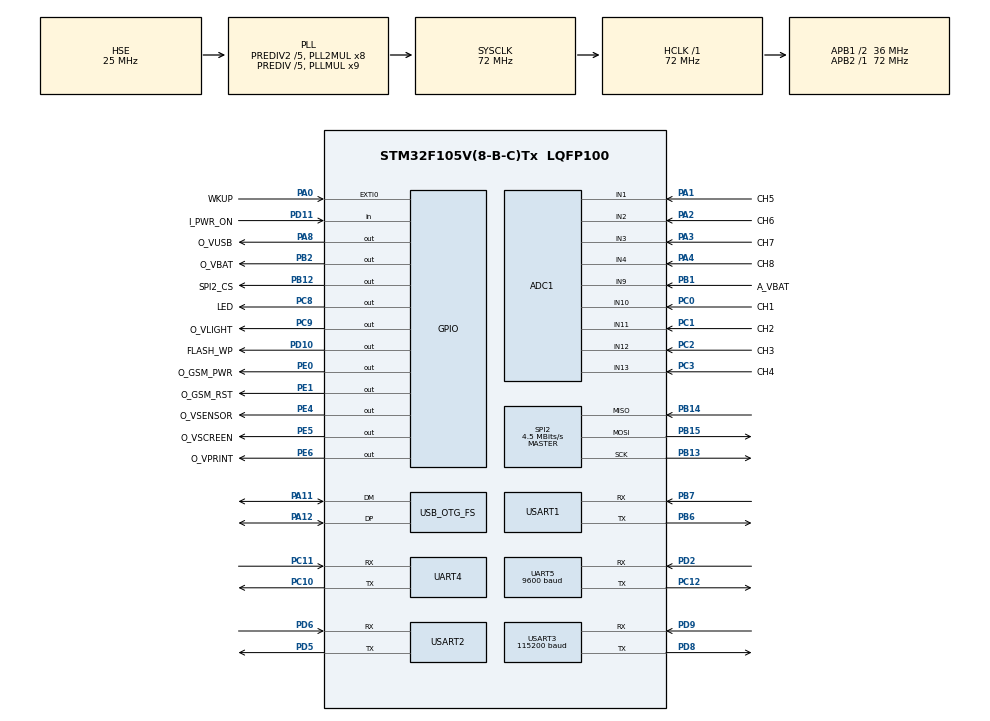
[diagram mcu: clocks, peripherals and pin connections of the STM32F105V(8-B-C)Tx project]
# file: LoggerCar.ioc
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ADC1.Channel-0\#ChannelRegularConversion=ADC_CHANNEL_9
ADC1.Channel-1\#ChannelRegularConversion=ADC_CHANNEL_10
ADC1.Channel-2\#ChannelRegularConversion=ADC_CHANNEL_11
ADC1.Channel-3\#ChannelRegularConversion=ADC_CHANNEL_12
ADC1.Channel-4\#ChannelRegularConversion=ADC_CHANNEL_13
ADC1.Channel-5\#ChannelRegularConversion=ADC_CHANNEL_1
ADC1.Channel-6\#ChannelRegularConversion=ADC_CHANNEL_2
ADC1.Channel-7\#ChannelRegularConversion=ADC_CHANNEL_3
ADC1.Channel-8\#ChannelRegularConversion=ADC_CHANNEL_4
ADC1.ContinuousConvMode=ENABLE
ADC1.DataAlign=ADC_DATAALIGN_RIGHT
ADC1.DiscontinuousConvMode=DISABLE
ADC1.EnableAnalogWatchDog=false
ADC1.EnableRegularConversion=ENABLE
ADC1.ExternalTrigConv=ADC_SOFTWARE_START
ADC1.InjNumberOfConversion=0
ADC1.NbrOfConversion=9
ADC1.NbrOfConversionFlag=1
ADC1.Rank-0\#ChannelRegularConversion=1
ADC1.Rank-1\#ChannelRegularConversion=2
ADC1.Rank-2\#ChannelRegularConversion=3
ADC1.Rank-3\#ChannelRegularConversion=4
ADC1.Rank-4\#ChannelRegularConversion=5
ADC1.Rank-5\#ChannelRegularConversion=6
ADC1.Rank-6\#ChannelRegularConversion=7
ADC1.Rank-7\#ChannelRegularConversion=8
ADC1.Rank-8\#ChannelRegularConversion=9
ADC1.SamplingTime-0\#ChannelRegularConversion=ADC_SAMPLETIME_239CYCLES_5
ADC1.SamplingTime-1\#ChannelRegularConversion=ADC_SAMPLETIME_239CYCLES_5
ADC1.SamplingTime-2\#ChannelRegularConversion=ADC_SAMPLETIME_239CYCLES_5
ADC1.SamplingTime-3\#ChannelRegularConversion=ADC_SAMPLETIME_239CYCLES_5
ADC1.SamplingTime-4\#ChannelRegularConversion=ADC_SAMPLETIME_239CYCLES_5
ADC1.SamplingTime-5\#ChannelRegularConversion=ADC_SAMPLETIME_239CYCLES_5
ADC1.SamplingTime-6\#ChannelRegularConversion=ADC_SAMPLETIME_239CYCLES_5
ADC1.SamplingTime-7\#ChannelRegularConversion=ADC_SAMPLETIME_239CYCLES_5
ADC1.SamplingTime-8\#ChannelRegularConversion=ADC_SAMPLETIME_239CYCLES_5
ADC1.ScanConvMode=ADC_SCAN_ENABLE
ADC1.master=1
Dma.ADC1.8.Direction=DMA_PERIPH_TO_MEMORY
Dma.ADC1.8.Instance=DMA1_Channel1
Dma.ADC1.8.MemDataAlignment=DMA_MDATAALIGN_HALFWORD
Dma.ADC1.8.MemInc=DMA_MINC_ENABLE
Dma.ADC1.8.Mode=DMA_NORMAL
Dma.ADC1.8.PeriphDataAlignment=DMA_PDATAALIGN_HALFWORD
Dma.ADC1.8.PeriphInc=DMA_PINC_DISABLE
Dma.ADC1.8.Priority=DMA_PRIORITY_LOW
Dma.Request0=USART3_RX
Dma.Request1=USART3_TX
Dma.Request2=UART4_RX
Dma.Request3=UART4_TX
Dma.Request4=USART1_RX
Dma.Request5=USART1_TX
Dma.Request6=USART2_RX
Dma.Request7=USART2_TX
Dma.Request8=ADC1
Dma.UART4_RX.2.Direction=DMA_PERIPH_TO_MEMORY
Dma.UART4_RX.2.Instance=DMA2_Channel3
Dma.UART4_RX.2.MemDataAlignment=DMA_MDATAALIGN_BYTE
Dma.UART4_RX.2.MemInc=DMA_MINC_ENABLE
Dma.UART4_RX.2.Mode=DMA_NORMAL
Dma.UART4_RX.2.PeriphDataAlignment=DMA_PDATAALIGN_BYTE
Dma.UART4_RX.2.PeriphInc=DMA_PINC_DISABLE
Dma.UART4_RX.2.Priority=DMA_PRIORITY_LOW
Dma.UART4_TX.3.Direction=DMA_MEMORY_TO_PERIPH
Dma.UART4_TX.3.Instance=DMA2_Channel5
Dma.UART4_TX.3.MemDataAlignment=DMA_MDATAALIGN_BYTE
Dma.UART4_TX.3.MemInc=DMA_MINC_ENABLE
Dma.UART4_TX.3.Mode=DMA_NORMAL
Dma.UART4_TX.3.PeriphDataAlignment=DMA_PDATAALIGN_BYTE
Dma.UART4_TX.3.PeriphInc=DMA_PINC_DISABLE
Dma.UART4_TX.3.Priority=DMA_PRIORITY_LOW
Dma.USART1_RX.4.Direction=DMA_PERIPH_TO_MEMORY
Dma.USART1_RX.4.Instance=DMA1_Channel5
Dma.USART1_RX.4.MemDataAlignment=DMA_MDATAALIGN_BYTE
Dma.USART1_RX.4.MemInc=DMA_MINC_ENABLE
Dma.USART1_RX.4.Mode=DMA_NORMAL
Dma.USART1_RX.4.PeriphDataAlignment=DMA_PDATAALIGN_BYTE
Dma.USART1_RX.4.PeriphInc=DMA_PINC_DISABLE
Dma.USART1_RX.4.Priority=DMA_PRIORITY_LOW
Dma.USART1_TX.5.Direction=DMA_MEMORY_TO_PERIPH
Dma.USART1_TX.5.Instance=DMA1_Channel4
Dma.USART1_TX.5.MemDataAlignment=DMA_MDATAALIGN_BYTE
Dma.USART1_TX.5.MemInc=DMA_MINC_ENABLE
Dma.USART1_TX.5.Mode=DMA_NORMAL
Dma.USART1_TX.5.PeriphDataAlignment=DMA_PDATAALIGN_BYTE
Dma.USART1_TX.5.PeriphInc=DMA_PINC_DISABLE
Dma.USART1_TX.5.Priority=DMA_PRIORITY_LOW
Dma.USART2_RX.6.Direction=DMA_PERIPH_TO_MEMORY
Dma.USART2_RX.6.Instance=DMA1_Channel6
Dma.USART2_RX.6.MemDataAlignment=DMA_MDATAALIGN_BYTE
Dma.USART2_RX.6.MemInc=DMA_MINC_ENABLE
Dma.USART2_RX.6.Mode=DMA_NORMAL
Dma.USART2_RX.6.PeriphDataAlignment=DMA_PDATAALIGN_BYTE
Dma.USART2_RX.6.PeriphInc=DMA_PINC_DISABLE
Dma.USART2_RX.6.Priority=DMA_PRIORITY_LOW
Dma.USART2_TX.7.Direction=DMA_MEMORY_TO_PERIPH
Dma.USART2_TX.7.Instance=DMA1_Channel7
Dma.USART2_TX.7.MemDataAlignment=DMA_MDATAALIGN_BYTE
Dma.USART2_TX.7.MemInc=DMA_MINC_ENABLE
Dma.USART2_TX.7.Mode=DMA_NORMAL
Dma.USART2_TX.7.PeriphDataAlignment=DMA_PDATAALIGN_BYTE
Dma.USART2_TX.7.PeriphInc=DMA_PINC_DISABLE
Dma.USART2_TX.7.Priority=DMA_PRIORITY_LOW
Dma.USART3_RX.0.Direction=DMA_PERIPH_TO_MEMORY
Dma.USART3_RX.0.Instance=DMA1_Channel3
Dma.USART3_RX.0.MemDataAlignment=DMA_MDATAALIGN_BYTE
Dma.USART3_RX.0.MemInc=DMA_MINC_ENABLE
Dma.USART3_RX.0.Mode=DMA_NORMAL
Dma.USART3_RX.0.PeriphDataAlignment=DMA_PDATAALIGN_BYTE
Dma.USART3_RX.0.PeriphInc=DMA_PINC_DISABLE
Dma.USART3_RX.0.Priority=DMA_PRIORITY_LOW
Dma.USART3_TX.1.Direction=DMA_MEMORY_TO_PERIPH
Dma.USART3_TX.1.Instance=DMA1_Channel2
Dma.USART3_TX.1.MemDataAlignment=DMA_MDATAALIGN_BYTE
Dma.USART3_TX.1.MemInc=DMA_MINC_ENABLE
Dma.USART3_TX.1.Mode=DMA_NORMAL
Dma.USART3_TX.1.PeriphDataAlignment=DMA_PDATAALIGN_BYTE
Dma.USART3_TX.1.PeriphInc=DMA_PINC_DISABLE
Dma.USART3_TX.1.Priority=DMA_PRIORITY_LOW
FATFS._FS_NORTC=1
FATFS._MAX_SS=4096
FATFS._MIN_SS=4096
FATFS._VOLUMES=1
FREERTOS.INCLUDE_eTaskGetState=0
FREERTOS.Tasks01=defaultTask,0,128,StartDefaultTask,Default,NULL
FREERTOS.configTOTAL_HEAP_SIZE=6400
IWDG.Prescaler=IWDG_PRESCALER_64
IWDG.Reload=2500
Mcu.Family=STM32F1
Mcu.Name=STM32F105V(8-B-C)Tx
Mcu.Package=LQFP100
NVIC.DMA1_Channel1_IRQn=true\:5\:0\:false\:false\:true\:true\:true
NVIC.DMA1_Channel2_IRQn=true\:5\:0\:false\:false\:true\:true\:false
NVIC.DMA1_Channel3_IRQn=true\:5\:0\:false\:false\:true\:true\:false
NVIC.DMA1_Channel4_IRQn=true\:5\:0\:false\:false\:true\:true\:false
NVIC.DMA1_Channel5_IRQn=true\:5\:0\:false\:false\:true\:true\:false
NVIC.DMA1_Channel6_IRQn=true\:5\:0\:false\:false\:true\:true\:false
NVIC.DMA1_Channel7_IRQn=true\:5\:0\:false\:false\:true\:true\:false
NVIC.DMA2_Channel3_IRQn=true\:5\:0\:false\:false\:true\:true\:false
NVIC.DMA2_Channel5_IRQn=true\:5\:0\:false\:false\:true\:true\:false
NVIC.EXTI0_IRQn=true\:5\:0\:false\:false\:true\:true\:true
NVIC.OTG_FS_IRQn=true\:5\:0\:false\:false\:true\:true\:true
NVIC.PriorityGroup=NVIC_PRIORITYGROUP_4
NVIC.RTC_Alarm_IRQn=true\:5\:0\:false\:false\:true\:true\:true
NVIC.TIM6_IRQn=true\:0\:0\:false\:false\:true\:false\:true
NVIC.TIM7_IRQn=true\:5\:0\:false\:false\:true\:true\:true
NVIC.TimeBase=TIM6_IRQn
NVIC.TimeBaseIP=TIM6
NVIC.UART4_IRQn=true\:5\:0\:false\:false\:true\:true\:true
NVIC.USART1_IRQn=true\:5\:0\:false\:false\:true\:true\:true
NVIC.USART2_IRQn=true\:5\:0\:false\:false\:true\:true\:true
NVIC.USART3_IRQn=true\:5\:0\:false\:false\:true\:true\:true
OSC_IN.Mode=HSE-External-Oscillator
OSC_IN.Signal=RCC_OSC_IN
OSC_OUT.Mode=HSE-External-Oscillator
OSC_OUT.Signal=RCC_OSC_OUT
PA0-WKUP.GPIO_Label=WKUP
PA0-WKUP.Signal=GPXTI0
PA1.GPIO_Label=CH5
PA1.Signal=ADCx_IN1
PA11.Mode=Device_Only
PA11.Signal=USB_OTG_FS_DM
PA12.Mode=Device_Only
PA12.Signal=USB_OTG_FS_DP
PA13.Mode=Serial_Wire
PA13.Signal=SYS_JTMS-SWDIO
PA14.Mode=Serial_Wire
PA14.Signal=SYS_JTCK-SWCLK
PA2.GPIO_Label=CH6
PA2.Signal=ADCx_IN2
PA3.GPIO_Label=CH7
PA3.Signal=ADCx_IN3
PA4.GPIO_Label=CH8
PA4.Signal=ADCx_IN4
PA8.GPIO_Label=O_VUSB
PA8.Signal=GPIO_Output
PB1.GPIO_Label=A_VBAT
PB1.Signal=ADCx_IN9
PB12.GPIO_Label=SPI2_CS
PB12.Signal=GPIO_Output
PB13.Mode=Full_Duplex_Master
PB13.Signal=SPI2_SCK
PB14.Mode=Full_Duplex_Master
PB14.Signal=SPI2_MISO
PB15.Mode=Full_Duplex_Master
PB15.Signal=SPI2_MOSI
PB2.GPIO_Label=O_VBAT
PB2.PinState=GPIO_PIN_SET
PB2.Signal=GPIO_Output
PB6.Mode=Asynchronous
PB6.Signal=USART1_TX
PB7.Mode=Asynchronous
PB7.Signal=USART1_RX
PC0.GPIO_Label=CH1
PC0.Signal=ADCx_IN10
PC1.GPIO_Label=CH2
PC1.Signal=ADCx_IN11
PC10.Mode=Asynchronous
PC10.Signal=UART4_TX
PC11.Mode=Asynchronous
PC11.Signal=UART4_RX
PC12.Mode=Asynchronous
PC12.Signal=UART5_TX
PC14-OSC32_IN.Mode=LSE-External-Oscillator
PC14-OSC32_IN.Signal=RCC_OSC32_IN
PC15-OSC32_OUT.Mode=LSE-External-Oscillator
PC15-OSC32_OUT.Signal=RCC_OSC32_OUT
PC2.GPIO_Label=CH3
PC2.Signal=ADCx_IN12
PC3.GPIO_Label=CH4
PC3.Signal=ADCx_IN13
PC8.GPIO_Label=LED
PC8.Signal=GPIO_Output
PC9.GPIO_Label=O_VLIGHT
PC9.Signal=GPIO_Output
PD10.GPIO_Label=FLASH_WP
PD10.PinState=GPIO_PIN_SET
PD10.Signal=GPIO_Output
PD11.GPIO_Label=I_PWR_ON
PD11.Signal=GPIO_Input
PD2.Mode=Asynchronous
PD2.Signal=UART5_RX
PD5.Mode=Asynchronous
PD5.Signal=USART2_TX
PD6.Mode=Asynchronous
PD6.Signal=USART2_RX
PD8.Mode=Asynchronous
PD8.Signal=USART3_TX
PD9.Mode=Asynchronous
PD9.Signal=USART3_RX
PE0.GPIO_Label=O_GSM_PWR
PE0.Signal=GPIO_Output
PE1.GPIO_Label=O_GSM_RST
PE1.Signal=GPIO_Output
PE4.GPIO_Label=O_VSENSOR
PE4.Signal=GPIO_Output
PE5.GPIO_Label=O_VSCREEN
PE5.Signal=GPIO_Output
PE6.GPIO_Label=O_VPRINT
PE6.Signal=GPIO_Output
ProjectManager.HeapSize=0x0400
ProjectManager.StackSize=0x1000
ProjectManager.TargetToolchain=MDK-ARM V5
RCC.ADCPresc=RCC_ADCPCLK2_DIV6
RCC.AHBFreq_Value=72000000
RCC.APB1CLKDivider=RCC_HCLK_DIV2
RCC.APB1Freq_Value=36000000
RCC.APB1TimFreq_Value=72000000
RCC.APB2Freq_Value=72000000
RCC.APB2TimFreq_Value=72000000
RCC.HCLKFreq_Value=72000000
RCC.HSEDivPLL=RCC_HSE_PREDIV_DIV5
RCC.HSE_VALUE=25000000
RCC.PLLMUL=RCC_PLL_MUL9
RCC.PLLSourceVirtual=RCC_PLLSOURCE_HSE
RCC.Prediv1Source=RCC_PREDIV1_SOURCE_PLL2
RCC.Prediv2=RCC_HSE_PREDIV2_DIV5
RCC.RTCClockSelection=RCC_RTCCLKSOURCE_LSE
RCC.SYSCLKFreq_VALUE=72000000
RCC.SYSCLKSource=RCC_SYSCLKSOURCE_PLLCLK
RCC.USBFreq_Value=48000000
RTC.Format=RTC_FORMAT_BIN
SH.ADCx_IN1.0=ADC1_IN1,IN1
SH.ADCx_IN10.0=ADC1_IN10,IN10
SH.ADCx_IN11.0=ADC1_IN11,IN11
SH.ADCx_IN12.0=ADC1_IN12,IN12
SH.ADCx_IN13.0=ADC1_IN13,IN13
SH.ADCx_IN2.0=ADC1_IN2,IN2
SH.ADCx_IN3.0=ADC1_IN3,IN3
SH.ADCx_IN4.0=ADC1_IN4,IN4
SH.ADCx_IN9.0=ADC1_IN9,IN9
SPI2.BaudRatePrescaler=SPI_BAUDRATEPRESCALER_8
SPI2.CLKPhase=SPI_PHASE_2EDGE
SPI2.CLKPolarity=SPI_POLARITY_HIGH
SPI2.CalculateBaudRate=4.5 MBits/s
SPI2.Direction=SPI_DIRECTION_2LINES
SPI2.Mode=SPI_MODE_MASTER
SPI2.VirtualType=VM_MASTER
TIM7.AutoReloadPreload=TIM_AUTORELOAD_PRELOAD_ENABLE
TIM7.Period=10000
TIM7.Prescaler=7199
UART4.VirtualMode=Asynchronous
UART5.BaudRate=9600
UART5.Mode=MODE_TX
UART5.VirtualMode=Asynchronous
USART1.VirtualMode=VM_ASYNC
USART2.VirtualMode=VM_ASYNC
USART3.BaudRate=115200
USART3.Mode=MODE_TX_RX
USART3.VirtualMode=VM_ASYNC
USB_DEVICE.CLASS_NAME_FS=MSC
USB_DEVICE.MSC_MEDIA_PACKET=4096
USB_DEVICE.PRODUCT_STRING_MSC_FS=Luge_Device
USB_DEVICE.VirtualMode=Msc
USB_DEVICE.VirtualModeFS=Msc_FS
USB_OTG_FS.VirtualMode=Device_Only
VP_FATFS_VS_Generic.Mode=User_defined
VP_FREERTOS_VS_ENABLE.Mode=Enabled
VP_IWDG_VS_IWDG.Mode=IWDG_Activate
VP_RTC_No_RTC_Output.Mode=RTC_OUT_NO
VP_RTC_VS_RTC_Activate.Mode=RTC_Enabled
VP_SYS_VS_tim6.Mode=TIM6
VP_TIM7_VS_ClockSourceINT.Mode=Enable_Timer
VP_USB_DEVICE_VS_USB_DEVICE_MSC_FS.Mode=MSC_FS
board=LoggerCar

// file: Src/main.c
/**
  ******************************************************************************
  * File Name          : main.c
  * Description        : Main program body
  ******************************************************************************
  * This notice applies to any and all portions of this file
  * that are not between comment pairs USER CODE BEGIN and
  * USER CODE END. Other portions of this file, whether
  * inserted by the user or by software development tools
  * are owned by their respective copyright owners.
  *
  * Copyright (c) 2017 STMicroelectronics International N.V.
  * All rights reserved.
  *
  * Redistribution and use in source and binary forms, with or without
  * modification, are permitted, provided that the following conditions are met:
  *
  * 1. Redistribution of source code must retain the above copyright notice,
  *    this list of conditions and the following disclaimer.
  * 2. Redistributions in binary form must reproduce the above copyright notice,
  *    this list of conditions and the following disclaimer in the documentation
  *    and/or other materials provided with the distribution.
  * 3. Neither the name of STMicroelectronics nor the names of other
  *    contributors to this software may be used to endorse or promote products
  *    derived from this software without specific written permission.
  * 4. This software, including modifications and/or derivative works of this
  *    software, must execute solely and exclusively on microcontroller or
  *    microprocessor devices manufactured by or for STMicroelectronics.
  * 5. Redistribution and use of this software other than as permitted under
  *    this license is void and will automatically terminate your rights under
  *    this license.
  *
  * THIS SOFTWARE IS PROVIDED BY STMICROELECTRONICS AND CONTRIBUTORS "AS IS"
  * AND ANY EXPRESS, IMPLIED OR STATUTORY WARRANTIES, INCLUDING, BUT NOT
  * LIMITED TO, THE IMPLIED WARRANTIES OF MERCHANTABILITY, FITNESS FOR A
  * PARTICULAR PURPOSE AND NON-INFRINGEMENT OF THIRD PARTY INTELLECTUAL PROPERTY
  * RIGHTS ARE DISCLAIMED TO THE FULLEST EXTENT PERMITTED BY LAW. IN NO EVENT
  * SHALL STMICROELECTRONICS OR CONTRIBUTORS BE LIABLE FOR ANY DIRECT, INDIRECT,
  * INCIDENTAL, SPECIAL, EXEMPLARY, OR CONSEQUENTIAL DAMAGES (INCLUDING, BUT NOT
  * LIMITED TO, PROCUREMENT OF SUBSTITUTE GOODS OR SERVICES; LOSS OF USE, DATA,
  * OR PROFITS; OR BUSINESS INTERRUPTION) HOWEVER CAUSED AND ON ANY THEORY OF
  * LIABILITY, WHETHER IN CONTRACT, STRICT LIABILITY, OR TORT (INCLUDING
  * NEGLIGENCE OR OTHERWISE) ARISING IN ANY WAY OUT OF THE USE OF THIS SOFTWARE,
  * EVEN IF ADVISED OF THE POSSIBILITY OF SUCH DAMAGE.
  *
  ******************************************************************************
  */

#include "main.h"
#include "stm32f1xx_hal.h"
#include "cmsis_os.h"
#include "adc.h"
#include "dma.h"
#include "fatfs.h"
#include "iwdg.h"
#include "rtc.h"
#include "spi.h"
#include "tim.h"
#include "usart.h"
#include "usb_device.h"
#include "gpio.h"

/* USER CODE BEGIN Includes */
#include "analog.h"
#include "file.h"
#include "gprs.h"
#include "lowPwr.h"
#include "ble.h"
#include "display.h"

/* USER CODE END Includes */

/* USER CODE BEGIN PV */
/* Private variables ---------------------------------------------------------*/

/* USER CODE END PV */

void SystemClock_Config(void);
void MX_FREERTOS_Init(void);

/* USER CODE BEGIN PFP */
/* Private function prototypes -----------------------------------------------*/

/* USER CODE END PFP */

/* USER CODE BEGIN 0 */
extern osThreadId realtimeTaskHandle;
/* USER CODE END 0 */

int main(void)
{

  /* MCU Configuration----------------------------------------------------------*/

  /* Reset of all peripherals, Initializes the Flash interface and the Systick. */
  HAL_Init();

  /* Configure the system clock */
  SystemClock_Config();

  /* USER CODE BEGIN SysInit */
  /* 在外设配置前，检测是否开机 */
//  LOWPWR_Init();
  /* USER CODE END SysInit */

  /* Initialize all configured peripherals */
  MX_GPIO_Init();
  MX_DMA_Init();
  MX_RTC_Init();
  MX_ADC1_Init();
  MX_USART3_UART_Init();
  MX_UART4_Init();
  MX_UART5_Init();
  MX_USART1_UART_Init();
  MX_USART2_UART_Init();
  MX_SPI2_Init();
  MX_TIM7_Init();
//  MX_IWDG_Init();

  /* USER CODE BEGIN 2 */
  ANALOG_Init();
  BLE_Init();

  /* USER CODE END 2 */

  /* Call init function for freertos objects (in freertos.c) */
  MX_FREERTOS_Init();

  /* Start scheduler */
  osKernelStart();

  /* We should never get here as control is now taken by the scheduler */

  /* Infinite loop */
  while (1)
  {

  }

}

/** System Clock Configuration
*/
void SystemClock_Config(void)
{

  RCC_OscInitTypeDef RCC_OscInitStruct;
  RCC_ClkInitTypeDef RCC_ClkInitStruct;
  RCC_PeriphCLKInitTypeDef PeriphClkInit;

    /**Initializes the CPU, AHB and APB busses clocks
    */
  RCC_OscInitStruct.OscillatorType = RCC_OSCILLATORTYPE_LSI|RCC_OSCILLATORTYPE_HSE
                              |RCC_OSCILLATORTYPE_LSE;
  RCC_OscInitStruct.HSEState = RCC_HSE_ON;
  RCC_OscInitStruct.HSEPredivValue = RCC_HSE_PREDIV_DIV5;
  RCC_OscInitStruct.LSEState = RCC_LSE_ON;
  RCC_OscInitStruct.HSIState = RCC_HSI_ON;
  RCC_OscInitStruct.LSIState = RCC_LSI_ON;
  RCC_OscInitStruct.Prediv1Source = RCC_PREDIV1_SOURCE_PLL2;
  RCC_OscInitStruct.PLL.PLLState = RCC_PLL_ON;
  RCC_OscInitStruct.PLL.PLLSource = RCC_PLLSOURCE_HSE;
  RCC_OscInitStruct.PLL.PLLMUL = RCC_PLL_MUL9;
  RCC_OscInitStruct.PLL2.PLL2State = RCC_PLL2_ON;
  RCC_OscInitStruct.PLL2.PLL2MUL = RCC_PLL2_MUL8;
  RCC_OscInitStruct.PLL2.HSEPrediv2Value = RCC_HSE_PREDIV2_DIV5;
  if (HAL_RCC_OscConfig(&RCC_OscInitStruct) != HAL_OK)
  {
    _Error_Handler(__FILE__, __LINE__);
  }

    /**Initializes the CPU, AHB and APB busses clocks
    */
  RCC_ClkInitStruct.ClockType = RCC_CLOCKTYPE_HCLK|RCC_CLOCKTYPE_SYSCLK
                              |RCC_CLOCKTYPE_PCLK1|RCC_CLOCKTYPE_PCLK2;
  RCC_ClkInitStruct.SYSCLKSource = RCC_SYSCLKSOURCE_PLLCLK;
  RCC_ClkInitStruct.AHBCLKDivider = RCC_SYSCLK_DIV1;
  RCC_ClkInitStruct.APB1CLKDivider = RCC_HCLK_DIV2;
  RCC_ClkInitStruct.APB2CLKDivider = RCC_HCLK_DIV1;

  if (HAL_RCC_ClockConfig(&RCC_ClkInitStruct, FLASH_LATENCY_2) != HAL_OK)
  {
    _Error_Handler(__FILE__, __LINE__);
  }

  PeriphClkInit.PeriphClockSelection = RCC_PERIPHCLK_RTC|RCC_PERIPHCLK_ADC
                              |RCC_PERIPHCLK_USB;
  PeriphClkInit.RTCClockSelection = RCC_RTCCLKSOURCE_LSE;
  PeriphClkInit.AdcClockSelection = RCC_ADCPCLK2_DIV6;
  PeriphClkInit.UsbClockSelection = RCC_USBCLKSOURCE_PLL_DIV3;
  if (HAL_RCCEx_PeriphCLKConfig(&PeriphClkInit) != HAL_OK)
  {
    _Error_Handler(__FILE__, __LINE__);
  }

    /**Configure the Systick interrupt time
    */
  HAL_SYSTICK_Config(HAL_RCC_GetHCLKFreq()/1000);

    /**Configure the Systick
    */
  HAL_SYSTICK_CLKSourceConfig(SYSTICK_CLKSOURCE_HCLK);

    /**Configure the Systick interrupt time
    */
  __HAL_RCC_PLLI2S_ENABLE();

  /* SysTick_IRQn interrupt configuration */
  HAL_NVIC_SetPriority(SysTick_IRQn, 15, 0);
}

void HAL_TIM_PeriodElapsedCallback(TIM_HandleTypeDef *htim)
{
/* USER CODE BEGIN Callback 0 */
	static uint8_t timeAnalogUpdateCnt = 0;

/* USER CODE END Callback 0 */
  if (htim->Instance == TIM6) {
    HAL_IncTick();
  }
/* USER CODE BEGIN Callback 1 */
  	if (htim->Instance == TIM7)
  	{
  		/* 定时器触发采样,1s触发中断一次，*/
  		timeAnalogUpdateCnt++;
  	  	if (timeAnalogUpdateCnt >= 10)
  	  	{
			timeAnalogUpdateCnt = 0;
  	  		osSignalSet(realtimeTaskHandle, REALTIME_TASK_TIME_ANALOG_UPDATE);
  	  	}
  	}
/* USER CODE END Callback 1 */
}

void _Error_Handler(char * file, int line)
{
  while(1)
  {
  }
}

/************************ (C) COPYRIGHT STMicroelectronics *****END OF FILE****/

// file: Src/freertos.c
/**
  ******************************************************************************
  * File Name          : freertos.c
  * Description        : Code for freertos applications
  ******************************************************************************
  * This notice applies to any and all portions of this file
  * that are not between comment pairs USER CODE BEGIN and
  * USER CODE END. Other portions of this file, whether
  * inserted by the user or by software development tools
  * are owned by their respective copyright owners.
  *
  * Copyright (c) 2017 STMicroelectronics International N.V.
  * All rights reserved.
  *
  * Redistribution and use in source and binary forms, with or without
  * modification, are permitted, provided that the following conditions are met:
  *
  * 1. Redistribution of source code must retain the above copyright notice,
  *    this list of conditions and the following disclaimer.
  * 2. Redistributions in binary form must reproduce the above copyright notice,
  *    this list of conditions and the following disclaimer in the documentation
  *    and/or other materials provided with the distribution.
  * 3. Neither the name of STMicroelectronics nor the names of other
  *    contributors to this software may be used to endorse or promote products
  *    derived from this software without specific written permission.
  * 4. This software, including modifications and/or derivative works of this
  *    software, must execute solely and exclusively on microcontroller or
  *    microprocessor devices manufactured by or for STMicroelectronics.
  * 5. Redistribution and use of this software other than as permitted under
  *    this license is void and will automatically terminate your rights under
  *    this license.
  *
  * THIS SOFTWARE IS PROVIDED BY STMICROELECTRONICS AND CONTRIBUTORS "AS IS"
  * AND ANY EXPRESS, IMPLIED OR STATUTORY WARRANTIES, INCLUDING, BUT NOT
  * LIMITED TO, THE IMPLIED WARRANTIES OF MERCHANTABILITY, FITNESS FOR A
  * PARTICULAR PURPOSE AND NON-INFRINGEMENT OF THIRD PARTY INTELLECTUAL PROPERTY
  * RIGHTS ARE DISCLAIMED TO THE FULLEST EXTENT PERMITTED BY LAW. IN NO EVENT
  * SHALL STMICROELECTRONICS OR CONTRIBUTORS BE LIABLE FOR ANY DIRECT, INDIRECT,
  * INCIDENTAL, SPECIAL, EXEMPLARY, OR CONSEQUENTIAL DAMAGES (INCLUDING, BUT NOT
  * LIMITED TO, PROCUREMENT OF SUBSTITUTE GOODS OR SERVICES; LOSS OF USE, DATA,
  * OR PROFITS; OR BUSINESS INTERRUPTION) HOWEVER CAUSED AND ON ANY THEORY OF
  * LIABILITY, WHETHER IN CONTRACT, STRICT LIABILITY, OR TORT (INCLUDING
  * NEGLIGENCE OR OTHERWISE) ARISING IN ANY WAY OUT OF THE USE OF THIS SOFTWARE,
  * EVEN IF ADVISED OF THE POSSIBILITY OF SUCH DAMAGE.
  *
  ******************************************************************************
  */

#include "FreeRTOS.h"
#include "task.h"
#include "cmsis_os.h"

/* USER CODE BEGIN Includes */
#include "led.h"
#include "RealTime.h"
#include "MainProcess.h"
#include "GPRSProcess.h"
#include "TFTLCDProcess.h"
#include "BLEProcess.h"

/* USER CODE END Includes */

osThreadId defaultTaskHandle;

/* USER CODE BEGIN Variables */

/* 任务句柄 */
osThreadId ledTaskHandle;
osThreadId realtimeTaskHandle;
osThreadId tftlcdTaskHandle;
osThreadId mainprocessTaskHandle;
osThreadId gprsprocessTaskHandle;
osThreadId bleprocessTaskHandle;

/* 队列句柄 */
osMessageQId gprsTaskMessageQid;

/* USER CODE END Variables */

void StartDefaultTask(void const * argument);

extern void MX_FATFS_Init(void);
extern void MX_USB_DEVICE_Init(void);
void MX_FREERTOS_Init(void); /* (MISRA C 2004 rule 8.1) */

/* Hook prototypes */

/* Init FreeRTOS */

void MX_FREERTOS_Init(void) {

  /* Create the thread(s) */
  /* definition and creation of defaultTask */
  osThreadDef(defaultTask, StartDefaultTask, osPriorityNormal, 0, 128);
  defaultTaskHandle = osThreadCreate(osThread(defaultTask), NULL);

  /* USER CODE BEGIN RTOS_THREADS */
  /* add threads, ... */
  osThreadDef(LED, LED_Task, osPriorityBelowNormal, 0, 128);
  ledTaskHandle = osThreadCreate(osThread(LED), NULL);

  osThreadDef(REALTIME, REALTIME_Task, osPriorityNormal, 0, 128);
  realtimeTaskHandle = osThreadCreate(osThread(REALTIME), NULL);
  /* 任务创建成功后再开启RTC的秒中断，否则会出错 */
//  HAL_RTCEx_SetSecond_IT(&hrtc);

  osThreadDef(TFTLCD, TFTLCD_Task, osPriorityNormal, 0, 256);
  tftlcdTaskHandle = osThreadCreate(osThread(TFTLCD), NULL);
//
  osThreadDef(MAINPROCESS, MAINPROCESS_Task, osPriorityHigh, 0, 128);
  mainprocessTaskHandle = osThreadCreate(osThread(MAINPROCESS), NULL);
  osThreadSuspend(mainprocessTaskHandle);

  osThreadDef(GPRSPROCESS, GPRSPROCESS_Task, osPriorityRealtime, 0, 128);
  gprsprocessTaskHandle = osThreadCreate(osThread(GPRSPROCESS), NULL);

  osThreadDef(BLEPROCESS, BLEPROCESS_TASK, osPriorityRealtime, 0, 128);
  bleprocessTaskHandle = osThreadCreate(osThread(BLEPROCESS), NULL);
  osThreadSuspend(bleprocessTaskHandle);

//  osThreadSuspend(gprsprocessTaskHandle);

  /* USER CODE END RTOS_THREADS */

  /* USER CODE BEGIN RTOS_QUEUES */
  /* add queues, ... */
//  osMessageQDef(REALTIME_MESSAGE, 2, sizeof(uint32_t*));
//  realtimeMessageQId = osMessageCreate(osMessageQ(REALTIME_MESSAGE), NULL);
//
//  osMessageQDef(ADJUSTTIME_MESSAGE, 2, sizeof(uint32_t*));
//  adjustTimeMessageQId = osMessageCreate(osMessageQ(ADJUSTTIME_MESSAGE), NULL);
//
//  osMessageQDef(ANALOG_MESSAGE, 2, sizeof(uint32_t*));
//  analogMessageQId = osMessageCreate(osMessageQ(ANALOG_MESSAGE), NULL);
//
//  osMessageQDef(INFO_MESSAGE, 2, sizeof(uint32_t*));
//  infoMessageQId = osMessageCreate(osMessageQ(INFO_MESSAGE), NULL);
//
//  /* 数据条数传递的是值本身 */
//  osMessageQDef(INFO_CNT_MESSAGE, 2, sizeof(uint16_t));
//  infoCntMessageQId = osMessageCreate(osMessageQ(INFO_CNT_MESSAGE), NULL);

  osMessageQDef(GPRS_TASK_MESSAGE, 5, sizeof(uint8_t));
  gprsTaskMessageQid = osMessageCreate(osMessageQ(GPRS_TASK_MESSAGE), NULL);

  /* USER CODE END RTOS_QUEUES */
}

/* StartDefaultTask function */
void StartDefaultTask(void const * argument)
{
  /* init code for FATFS */
  MX_FATFS_Init();

  /* init code for USB_DEVICE */
  MX_USB_DEVICE_Init();

  for(;;)
  {
    osDelay(1);
  }
}

/************************ (C) COPYRIGHT STMicroelectronics *****END OF FILE****/
